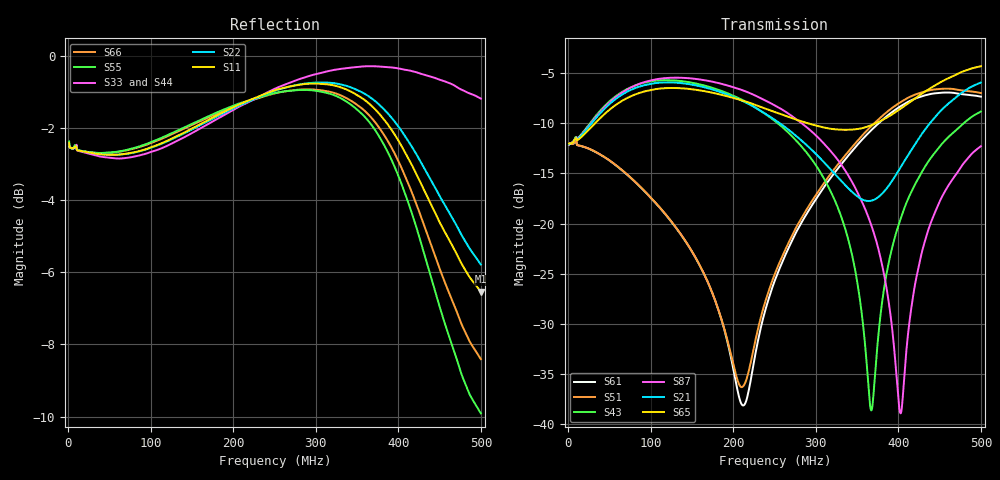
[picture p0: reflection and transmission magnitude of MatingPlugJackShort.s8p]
!Agilent Technologies,M9370A,MY54322275,A.02.50.04
!Agilent M9370A: A.02.50.04
!Date: Friday, April 06, 2018 12:58:21
!Correction: S11(Full 8 Port(1,2,3,4,5,6,7,8))
!S12(Full 8 Port(1,2,3,4,5,6,7,8))
!S13(Full 8 Port(1,2,3,4,5,6,7,8))
!S14(Full 8 Port(1,2,3,4,5,6,7,8))
!S15(Full 8 Port(1,2,3,4,5,6,7,8))
!S16(Full 8 Port(1,2,3,4,5,6,7,8))
!S17(Full 8 Port(1,2,3,4,5,6,7,8))
!S18(Full 8 Port(1,2,3,4,5,6,7,8))
!S21(Full 8 Port(1,2,3,4,5,6,7,8))
!S22(Full 8 Port(1,2,3,4,5,6,7,8))
!S23(Full 8 Port(1,2,3,4,5,6,7,8))
!S24(Full 8 Port(1,2,3,4,5,6,7,8))
!S25(Full 8 Port(1,2,3,4,5,6,7,8))
!S26(Full 8 Port(1,2,3,4,5,6,7,8))
!S27(Full 8 Port(1,2,3,4,5,6,7,8))
!S28(Full 8 Port(1,2,3,4,5,6,7,8))
!S31(Full 8 Port(1,2,3,4,5,6,7,8))
!S32(Full 8 Port(1,2,3,4,5,6,7,8))
!S33(Full 8 Port(1,2,3,4,5,6,7,8))
!S34(Full 8 Port(1,2,3,4,5,6,7,8))
!S35(Full 8 Port(1,2,3,4,5,6,7,8))
!S36(Full 8 Port(1,2,3,4,5,6,7,8))
!S37(Full 8 Port(1,2,3,4,5,6,7,8))
!S38(Full 8 Port(1,2,3,4,5,6,7,8))
!S41(Full 8 Port(1,2,3,4,5,6,7,8))
!S42(Full 8 Port(1,2,3,4,5,6,7,8))
!S43(Full 8 Port(1,2,3,4,5,6,7,8))
!S44(Full 8 Port(1,2,3,4,5,6,7,8))
!S45(Full 8 Port(1,2,3,4,5,6,7,8))
!S46(Full 8 Port(1,2,3,4,5,6,7,8))
!S47(Full 8 Port(1,2,3,4,5,6,7,8))
!S48(Full 8 Port(1,2,3,4,5,6,7,8))
!S51(Full 8 Port(1,2,3,4,5,6,7,8))
!S52(Full 8 Port(1,2,3,4,5,6,7,8))
!S53(Full 8 Port(1,2,3,4,5,6,7,8))
!S54(Full 8 Port(1,2,3,4,5,6,7,8))
!S55(Full 8 Port(1,2,3,4,5,6,7,8))
!S56(Full 8 Port(1,2,3,4,5,6,7,8))
!S57(Full 8 Port(1,2,3,4,5,6,7,8))
!S58(Full 8 Port(1,2,3,4,5,6,7,8))
!S61(Full 8 Port(1,2,3,4,5,6,7,8))
!S62(Full 8 Port(1,2,3,4,5,6,7,8))
!S63(Full 8 Port(1,2,3,4,5,6,7,8))
!S64(Full 8 Port(1,2,3,4,5,6,7,8))
!S65(Full 8 Port(1,2,3,4,5,6,7,8))
!S66(Full 8 Port(1,2,3,4,5,6,7,8))
!S67(Full 8 Port(1,2,3,4,5,6,7,8))
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# Hz S  RI  R 50
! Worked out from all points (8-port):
!   1000 points, 1 MHz to 500 MHz, reference 50 ohm
!   strongest paths, dB at 1 MHz, 125.9 MHz, 250.7 MHz, 375.6 MHz, 500 MHz:
!     S65: -12.0, -6.5, -8.9, -9.9, -4.3
!     S21: -12.1, -5.9, -9.7, -17.4, -5.9
!     S87: -12.1, -5.5, -8.2, -22.5, -12.3
!     S43: -12.1, -5.7, -9.8, -31.3, -8.8
!     S51: -12.0, -19.9, -24.9, -9.6, -7.0
!     S61: -12.2, -19.9, -25.6, -10.0, -7.4
!   lowest |S11| = -6.5 dB at 500 MHz (marker M1), VSWR 2.78, Z = 26.6 - j31.2 ohm
!   |S11| at or under -10 dB: nowhere
